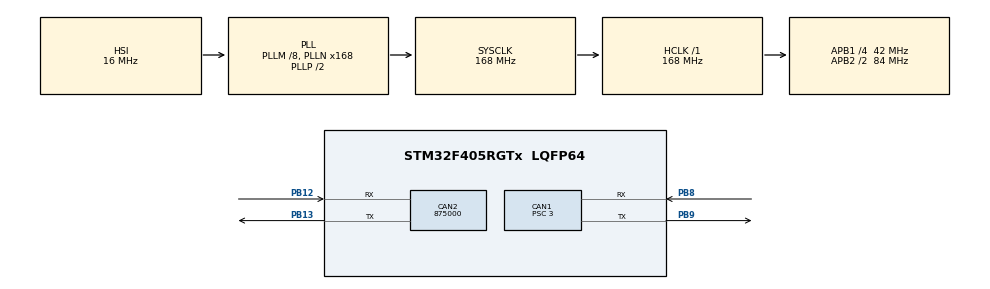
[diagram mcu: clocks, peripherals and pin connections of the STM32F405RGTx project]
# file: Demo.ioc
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CAN1.BS1=CAN_BS1_9TQ
CAN1.BS2=CAN_BS2_4TQ
CAN1.CalculateBaudRate=1000000
CAN1.CalculateTimeBit=1000
CAN1.CalculateTimeQuantum=71.42857142857143
CAN1.NART=ENABLE
CAN1.Prescaler=3
CAN1.SJW=CAN_SJW_1TQ
CAN2.CalculateBaudRate=875000
CAN2.CalculateTimeBit=1142
CAN2.CalculateTimeQuantum=380.95238095238096
FREERTOS.Tasks01=defaultTask,24,512,StartDefaultTask,Default,NULL,Dynamic,NULL,NULL
FREERTOS.configCHECK_FOR_STACK_OVERFLOW=1
FREERTOS.configENABLE_FPU=1
FREERTOS.configGENERATE_RUN_TIME_STATS=0
FREERTOS.configMINIMAL_STACK_SIZE=256
FREERTOS.configTOTAL_HEAP_SIZE=46080
FREERTOS.configUSE_POSIX_ERRNO=1
FREERTOS.configUSE_STATS_FORMATTING_FUNCTIONS=1
Mcu.Family=STM32F4
Mcu.Name=STM32F405RGTx
Mcu.Package=LQFP64
NVIC.CAN1_RX0_IRQn=true\:5\:0\:false\:false\:true\:true\:true\:true\:true
NVIC.PriorityGroup=NVIC_PRIORITYGROUP_4
NVIC.TIM1_UP_TIM10_IRQn=true\:15\:0\:false\:false\:true\:false\:false\:true\:true
NVIC.TimeBase=TIM1_UP_TIM10_IRQn
NVIC.TimeBaseIP=TIM1
PA13.Mode=Serial_Wire
PA13.Signal=SYS_JTMS-SWDIO
PA14.Mode=Serial_Wire
PA14.Signal=SYS_JTCK-SWCLK
PB12.Mode=CAN_Activate
PB12.Signal=CAN2_RX
PB13.Mode=CAN_Activate
PB13.Signal=CAN2_TX
PB8.Mode=CAN_Activate
PB8.Signal=CAN1_RX
PB9.Mode=CAN_Activate
PB9.Signal=CAN1_TX
PH0-OSC_IN.Mode=HSE-External-Oscillator
PH0-OSC_IN.Signal=RCC_OSC_IN
PH1-OSC_OUT.Mode=HSE-External-Oscillator
PH1-OSC_OUT.Signal=RCC_OSC_OUT
ProjectManager.HeapSize=0x800
ProjectManager.StackSize=0x800
ProjectManager.TargetToolchain=MDK-ARM V5.32
RCC.48MHZClocksFreq_Value=84000000
RCC.AHBFreq_Value=168000000
RCC.APB1CLKDivider=RCC_HCLK_DIV4
RCC.APB1Freq_Value=42000000
RCC.APB1TimFreq_Value=84000000
RCC.APB2CLKDivider=RCC_HCLK_DIV2
RCC.APB2Freq_Value=84000000
RCC.APB2TimFreq_Value=168000000
RCC.CortexFreq_Value=168000000
RCC.HCLKFreq_Value=168000000
RCC.HSE_VALUE=25000000
RCC.HSI_VALUE=16000000
RCC.LSE_VALUE=32768
RCC.PLLM=8
RCC.PLLN=168
RCC.SYSCLKFreq_VALUE=168000000
RCC.SYSCLKSource=RCC_SYSCLKSOURCE_PLLCLK
RCC.VCOOutputFreq_Value=336000000
STMicroelectronics.X-CUBE-AI.8.0.1.HeapSize=0x800
STMicroelectronics.X-CUBE-AI.8.0.1.ReadyForCodeGeneration=false
STMicroelectronics.X-CUBE-AI.8.0.1.StackSize=0x800
VP_CRC_VS_CRC.Mode=CRC_Activate
VP_FREERTOS_VS_CMSIS_V2.Mode=CMSIS_V2
VP_SYS_VS_tim1.Mode=TIM1
board=custom

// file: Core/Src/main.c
/* USER CODE BEGIN Header */
/**
  ******************************************************************************
  * @file           : main.c
  * @brief          : Main program body
  ******************************************************************************
  * @attention
  *
  * Copyright (c) 2023 STMicroelectronics.
  * All rights reserved.
  *
  * This software is licensed under terms that can be found in the LICENSE file
  * in the root directory of this software component.
  * If no LICENSE file comes with this software, it is provided AS-IS.
  *
  ******************************************************************************
  */
/* USER CODE END Header */
#include "main.h"
#include "cmsis_os.h"
#include "can.h"
#include "crc.h"
#include "gpio.h"

/* USER CODE BEGIN Includes */
#include "d_flash.h"
/* USER CODE END Includes */

void SystemClock_Config(void);
void MX_FREERTOS_Init(void);

int main(void)
{

  /* MCU Configuration--------------------------------------------------------*/

  /* Reset of all peripherals, Initializes the Flash interface and the Systick. */
  HAL_Init();

  /* Configure the system clock */
  SystemClock_Config();

  /* Initialize all configured peripherals */
  MX_GPIO_Init();
  MX_CAN1_Init();
  MX_CAN2_Init();
  MX_CRC_Init();
  /* USER CODE BEGIN 2 */
  uint32_t df_state;
  if(df_init(&df_state) == DF_F_OK){
    DEMO_LOG("df_init succeeded. remain space:%ulByte, %ulKB\n",df_state,df_state>>12);
  }else{
    DEMO_LOG("df_init failed. remain space:%ulByte, %ulKB\n",df_state, df_state>>12);
    Error_Handler();
  }
  const char *df_test_key = "df_test_key";
  uint32_t df_test_value = 0;
  if(df_read(df_test_key,&df_test_value, sizeof(uint32_t)) == DF_F_OK){
    DEMO_LOG("df_read succeeded. key:%s, value:%x\n",df_test_key, df_test_value);
    DEMO_LOG("df_write new value:%x\n",++df_test_value);

  }else{
    DEMO_LOG("df_read failed. key:%s\n",df_test_key);
    df_test_value = 0x12345678U;
    DEMO_LOG("df_write first. key:%s, value:%x\n",df_test_key,df_test_value);

  }

  if(df_write(df_test_key,&df_test_value, sizeof(uint32_t), &df_state) == DF_F_OK){
    DEMO_LOG("df_write succeeded. remain space:%ulByte, %ulKB\n",df_state, df_state>>12);
  }else{
    DEMO_LOG("df_write failed. remain space:%ulByte, %ulKB\n",df_state, df_state>>12);
  }
  /* USER CODE END 2 */

  /* Init scheduler */
  osKernelInitialize();  /* Call init function for freertos objects (in freertos.c) */
  MX_FREERTOS_Init();

  /* Start scheduler */
  osKernelStart();
  /* We should never get here as control is now taken by the scheduler */
  /* Infinite loop */
  while (1)
  {

  }
}

void SystemClock_Config(void)
{
  RCC_OscInitTypeDef RCC_OscInitStruct = {0};
  RCC_ClkInitTypeDef RCC_ClkInitStruct = {0};

  /** Configure the main internal regulator output voltage
  */
  __HAL_RCC_PWR_CLK_ENABLE();
  __HAL_PWR_VOLTAGESCALING_CONFIG(PWR_REGULATOR_VOLTAGE_SCALE1);

  /** Initializes the RCC Oscillators according to the specified parameters
  * in the RCC_OscInitTypeDef structure.
  */
  RCC_OscInitStruct.OscillatorType = RCC_OSCILLATORTYPE_HSI;
  RCC_OscInitStruct.HSIState = RCC_HSI_ON;
  RCC_OscInitStruct.HSICalibrationValue = RCC_HSICALIBRATION_DEFAULT;
  RCC_OscInitStruct.PLL.PLLState = RCC_PLL_ON;
  RCC_OscInitStruct.PLL.PLLSource = RCC_PLLSOURCE_HSI;
  RCC_OscInitStruct.PLL.PLLM = 8;
  RCC_OscInitStruct.PLL.PLLN = 168;
  RCC_OscInitStruct.PLL.PLLP = RCC_PLLP_DIV2;
  RCC_OscInitStruct.PLL.PLLQ = 4;
  if (HAL_RCC_OscConfig(&RCC_OscInitStruct) != HAL_OK)
  {
    Error_Handler();
  }

  /** Initializes the CPU, AHB and APB buses clocks
  */
  RCC_ClkInitStruct.ClockType = RCC_CLOCKTYPE_HCLK|RCC_CLOCKTYPE_SYSCLK
                              |RCC_CLOCKTYPE_PCLK1|RCC_CLOCKTYPE_PCLK2;
  RCC_ClkInitStruct.SYSCLKSource = RCC_SYSCLKSOURCE_PLLCLK;
  RCC_ClkInitStruct.AHBCLKDivider = RCC_SYSCLK_DIV1;
  RCC_ClkInitStruct.APB1CLKDivider = RCC_HCLK_DIV4;
  RCC_ClkInitStruct.APB2CLKDivider = RCC_HCLK_DIV2;

  if (HAL_RCC_ClockConfig(&RCC_ClkInitStruct, FLASH_LATENCY_5) != HAL_OK)
  {
    Error_Handler();
  }
}

void HAL_TIM_PeriodElapsedCallback(TIM_HandleTypeDef *htim)
{
  if (htim->Instance == TIM1) {
    HAL_IncTick();
  }
}

void Error_Handler(void)
{
  __disable_irq();
  while (1)
  {
  }
}

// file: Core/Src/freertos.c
/* USER CODE BEGIN Header */
/**
  ******************************************************************************
  * File Name          : freertos.c
  * Description        : Code for freertos applications
  ******************************************************************************
  * @attention
  *
  * Copyright (c) 2023 STMicroelectronics.
  * All rights reserved.
  *
  * This software is licensed under terms that can be found in the LICENSE file
  * in the root directory of this software component.
  * If no LICENSE file comes with this software, it is provided AS-IS.
  *
  ******************************************************************************
  */
/* USER CODE END Header */

#include "FreeRTOS.h"
#include "task.h"
#include "main.h"
#include "cmsis_os.h"

/* Definitions for defaultTask */
osThreadId_t defaultTaskHandle;
const osThreadAttr_t defaultTask_attributes = {
  .name = "defaultTask",
  .stack_size = 512 * 4,
  .priority = (osPriority_t) osPriorityNormal,
};

void StartDefaultTask(void *argument);

void MX_FREERTOS_Init(void); /* (MISRA C 2004 rule 8.1) */

/* Hook prototypes */
void vApplicationStackOverflowHook(xTaskHandle xTask, signed char *pcTaskName);

/* USER CODE BEGIN 4 */
void vApplicationStackOverflowHook(xTaskHandle xTask, signed char *pcTaskName)
{
   /* Run time stack overflow checking is performed if
   configCHECK_FOR_STACK_OVERFLOW is defined to 1 or 2. This hook function is
   called if a stack overflow is detected. */
}
/* USER CODE END 4 */

void MX_FREERTOS_Init(void) {

  /* Create the thread(s) */
  /* creation of defaultTask */
  defaultTaskHandle = osThreadNew(StartDefaultTask, NULL, &defaultTask_attributes);

}

void StartDefaultTask(void *argument)
{
  /* USER CODE BEGIN StartDefaultTask */
  static char u_osThreadState[512];
  /* Infinite loop */
  for(;;)
  {
    osDelay(5000);
    vTaskList(u_osThreadState);

  }
  /* USER CODE END StartDefaultTask */
}
